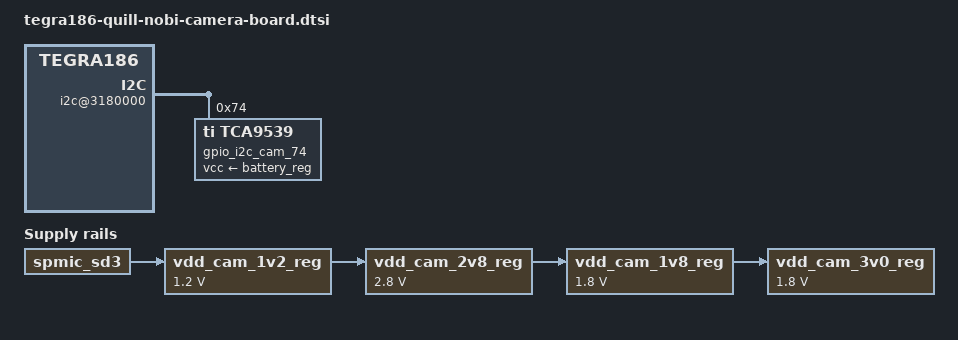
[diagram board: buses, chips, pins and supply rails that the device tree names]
/* Device tree for Nobi Camera board support
*
* TODO: seperate "module" specific node configuration from "platform" specific configuration.
*/

#include <quill-modules/tegra186-camera-ar0330.dtsi>

/ {
	i2c@3180000 {
		/*
		* Set up I/O expander
		* Assumes default configuration of R41 and R42
		*/
		gpio_i2c_cam_74: gpio@74 {
			compatible = "ti,tca9539";
			reg = <0x74>;
			gpio-controller;
			#gpio-cells = <2>;
			vcc-supply = <&battery_reg>; /* TODO: properly define or remove this. */

			ar-0330-osc-gpios {
				gpio-hog;
				gpios = <6 0>; /* P06 active high */
				output-high; /* ToDo: control this more elegantly */
				label = "enable-ar0330-osc";
			};
			/* TODO: define this here to make module pin independent
			mic-gpios {
				gpio-hog;
				gpios = <0 0>;
				output-low;
				label = "mic-select";
			};

			ar-0330-gpios {
				gpio-hog;
				gpios = <6 0 7 0>;
				output-low;
				label = "enable-ar0330-osc", "reset-ar0330;
			};

			flir-gpios {
				gpio-hog;
				gpios = <11 1
				         12 0
				         13 1
				         14 1
				         15 0>;
				output-low;
				label = "reset-flir",
				        "enable-flir-osc,
				        "power-down-flir",
				        "enable-flir-gpio-voltage-translator",
				        "enable-flir-i2c-voltage-translator";
			}

			led-gpios {
				gpio-hog;
				gpios = <16, 0, 17, 0>
				output-low;
				label = "enable-led-low", "enable-led-high";
			}
			*/
		};
	};

	/* Fixed regulators on camera board. No GPIO enable pin available, but can be used to ensure proper timing and compatibility with AR0330 driver */
	vdd_cam_1v2_reg: fixedregulator@cam_1 {
		compatible = "regulator-fixed";
		regulator-name = "vdd_cam_1v2_reg";
		regulator-min-microvolt = <1200000>;
		regulator-max-microvolt = <1200000>;
		startup-delay-us = <3720>; /* 8192 cycles @2.2MHz = 3.72ms */
		vin-supply = <&spmic_sd3>;
	};

	vdd_cam_2v8_reg: fixedregulator@cam_2 {
		compatible = "regulator-fixed";
		regulator-name = "vdd_cam_2v8_reg";
		regulator-min-microvolt = <2800000>;
		regulator-max-microvolt = <2800000>;
		startup-delay-us = <3720>; /* 8192 cycles @2.2MHz = 3.72ms */
		vin-supply = <&vdd_cam_1v2_reg>;
	};

	vdd_cam_1v8_reg: fixedregulator@cam_3 {
		compatible = "regulator-fixed";
		regulator-name = "vdd_cam_1v8_reg";
		regulator-min-microvolt = <1800000>;
		regulator-max-microvolt = <1800000>;
		startup-delay-us = <3720>; /* 8192 cycles @2.2MHz = 3.72ms */
		vin-supply = <&vdd_cam_2v8_reg>;
	};

	vdd_cam_3v0_reg: fixedregulator@cam_4 {
		compatible = "regulator-fixed";
		regulator-name = "vdd_cam_3v0_reg";
		regulator-min-microvolt = <1800000>;
		regulator-max-microvolt = <1800000>;
		startup-delay-us = <3720>; /* 8192 cycles @2.2MHz = 3.72ms */
		vin-supply = <&vdd_cam_1v8_reg>;
	};
};
